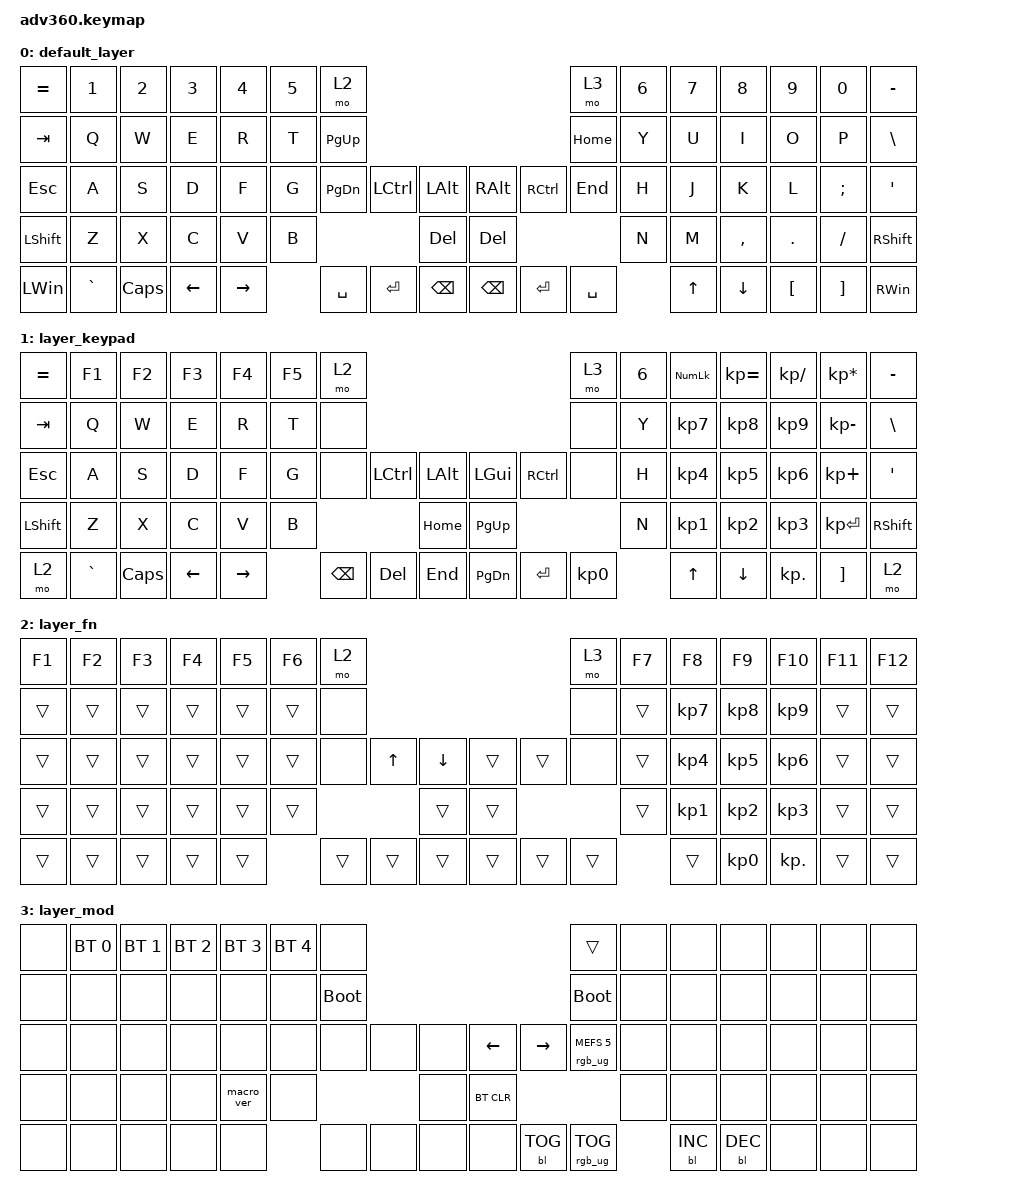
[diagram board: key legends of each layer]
/*
 * Copyright (c) 2020 The ZMK Contributors
 *
 * SPDX-License-Identifier: MIT
 */
/* THIS FILE WAS GENERATED!
 *
 * This file was generated automatically. You may or may not want to
 * edit it directly.
 */

#include <behaviors.dtsi>
#include <dt-bindings/zmk/backlight.h>
#include <dt-bindings/zmk/bt.h>
#include <dt-bindings/zmk/keys.h>
#include <dt-bindings/zmk/rgb.h>

/ {
    behaviors {
        #include "macros.dtsi"
    #include "version.dtsi"

        hm: homerow_mods {
            compatible = "zmk,behavior-hold-tap";
            label = "HOMEROW_MODS";
            #binding-cells = <2>;
            tapping-term-ms = <200>;
            quick_tap_ms = <175>;
            flavor = "tap-preferred";
            bindings = <&kp>, <&kp>;
        };
    };

    keymap {
        compatible = "zmk,keymap";

        default_layer {
            bindings = <
&kp EQUAL  &kp N1     &kp N2    &kp N3    &kp N4     &kp N5  &mo 2                                                           &mo 3      &kp N6  &kp N7  &kp N8     &kp N9    &kp N0    &kp MINUS
&kp TAB    &kp Q      &kp W     &kp E     &kp R      &kp T   &kp PAGE_UP                                                     &kp HOME   &kp Y   &kp U   &kp I      &kp O     &kp P     &kp BSLH
&kp ESC    &kp A      &kp S     &kp D     &kp F      &kp G   &kp PG_DN    &kp LCTRL  &kp LALT      &kp RIGHT_ALT  &kp RCTRL  &kp END    &kp H   &kp J   &kp K      &kp L     &kp SEMI  &kp SQT
&kp LSHFT  &kp Z      &kp X     &kp C     &kp V      &kp B                           &kp DEL       &kp DEL                              &kp N   &kp M   &kp COMMA  &kp DOT   &kp FSLH  &kp RSHFT
&kp LWIN   &kp GRAVE  &kp CAPS  &kp LEFT  &kp RIGHT          &kp SPACE    &kp ENTER  &kp BSPC      &kp BSPC       &kp ENTER  &kp SPACE          &kp UP  &kp DOWN   &kp LBKT  &kp RBKT  &kp RWIN
            >;
        };

        layer_keypad {
            bindings = <
&kp EQUAL  &kp F1     &kp F2    &kp F3    &kp F4     &kp F5  &mo 2                                                    &mo 3      &kp N6  &kp KP_NUM  &kp KP_EQUAL  &kp KP_DIVIDE  &kp KP_MULTIPLY  &kp MINUS
&kp TAB    &kp Q      &kp W     &kp E     &kp R      &kp T   &none                                                    &none      &kp Y   &kp KP_N7   &kp KP_N8     &kp KP_N9      &kp KP_MINUS     &kp BSLH
&kp ESC    &kp A      &kp S     &kp D     &kp F      &kp G   &none     &kp LCTRL  &kp LALT      &kp LGUI   &kp RCTRL  &none      &kp H   &kp KP_N4   &kp KP_N5     &kp KP_N6      &kp KP_PLUS      &kp SQT
&kp LSHFT  &kp Z      &kp X     &kp C     &kp V      &kp B                        &kp HOME      &kp PG_UP                        &kp N   &kp KP_N1   &kp KP_N2     &kp KP_N3      &kp KP_ENTER     &kp RSHFT
&mo 2      &kp GRAVE  &kp CAPS  &kp LEFT  &kp RIGHT          &kp BSPC  &kp DEL    &kp END       &kp PG_DN  &kp ENTER  &kp KP_N0          &kp UP      &kp DOWN      &kp KP_DOT     &kp RBKT         &mo 2
            >;
        };

        layer_fn {
            bindings = <
&kp F1  &kp F2  &kp F3  &kp F4  &kp F5  &kp F6  &mo 2                                                     &mo 3   &kp F7  &kp F8           &kp F9           &kp F10          &kp F11  &kp F12
&trans  &trans  &trans  &trans  &trans  &trans  &none                                                     &none   &trans  &kp KP_NUMBER_7  &kp KP_NUMBER_8  &kp KP_NUMBER_9  &trans   &trans
&trans  &trans  &trans  &trans  &trans  &trans  &none   &kp UP_ARROW  &kp DOWN_ARROW      &trans  &trans  &none   &trans  &kp KP_NUMBER_4  &kp KP_NUMBER_5  &kp KP_NUMBER_6  &trans   &trans
&trans  &trans  &trans  &trans  &trans  &trans                        &trans              &trans                  &trans  &kp KP_NUMBER_1  &kp KP_NUMBER_2  &kp KP_NUMBER_3  &trans   &trans
&trans  &trans  &trans  &trans  &trans          &trans  &trans        &trans              &trans  &trans  &trans          &trans           &kp KP_N0        &kp KP_DOT       &trans   &trans
            >;
        };

        layer_mod {
            bindings = <
&none  &bt BT_SEL 0  &bt BT_SEL 1  &bt BT_SEL 2  &bt BT_SEL 3  &bt BT_SEL 4  &none                                                      &trans                  &none  &none       &none       &none  &none  &none
&none  &none         &none         &none         &none         &none         &bootloader                                                &bootloader             &none  &none       &none       &none  &none  &none
&none  &none         &none         &none         &none         &none         &none        &none  &none      &kp LEFT_ARROW  &kp RIGHT   &rgb_ug RGB_MEFS_CMD 5  &none  &none       &none       &none  &none  &none
&none  &none         &none         &none         &macro_ver    &none                             &none      &bt BT_CLR                                          &none  &none       &none       &none  &none  &none
&none  &none         &none         &none         &none                       &none        &none  &none      &none           &bl BL_TOG  &rgb_ug RGB_TOG                &bl BL_INC  &bl BL_DEC  &none  &none  &none
            >;
        };
    };
};
